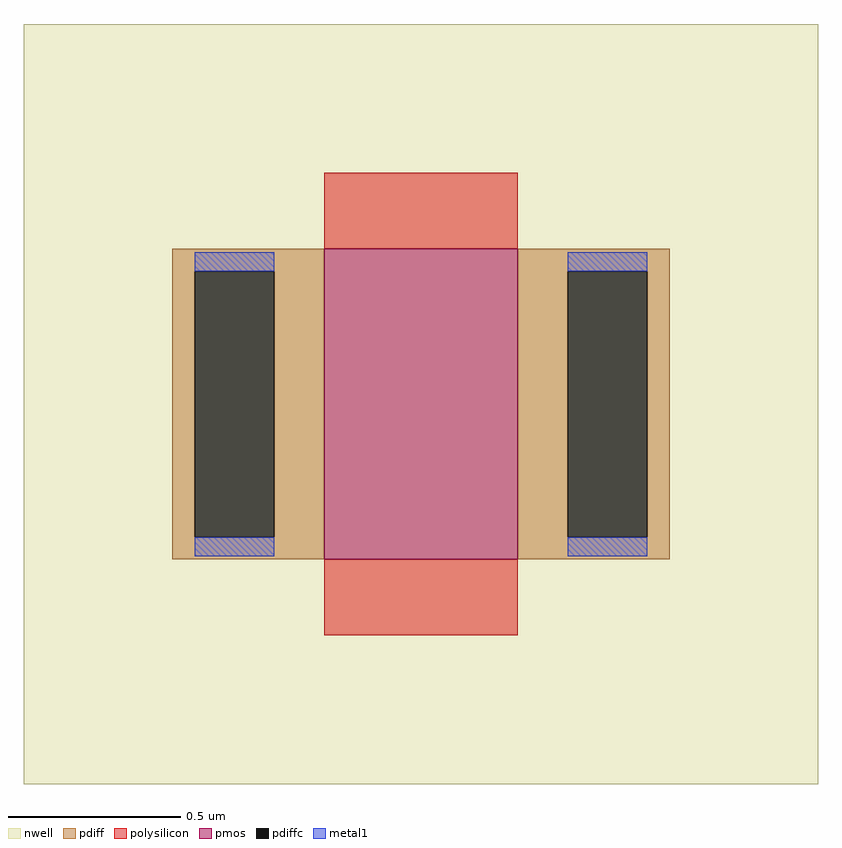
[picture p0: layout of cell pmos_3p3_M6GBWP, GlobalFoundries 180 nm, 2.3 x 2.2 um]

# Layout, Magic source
magic
tech gf180mcuC
magscale 1 10
<< nwell >>
rect -230 -220 230 220
<< pmos >>
rect -56 -90 56 90
<< pdiff >>
rect -144 77 -56 90
rect -144 -77 -131 77
rect -85 -77 -56 77
rect -144 -90 -56 -77
rect 56 77 144 90
rect 56 -77 85 77
rect 131 -77 144 77
rect 56 -90 144 -77
<< pdiffc >>
rect -131 -77 -85 77
rect 85 -77 131 77
<< polysilicon >>
rect -56 90 56 134
rect -56 -134 56 -90
<< metal1 >>
rect -131 77 -85 88
rect -131 -88 -85 -77
rect 85 77 131 88
rect 85 -88 131 -77
<< properties >>
string gencell pmos_3p3
string library gf180mcu
string parameters w 0.9 l 0.560 m 1 nf 1 diffcov 100 polycov 100 guard 0 glc 0 grc 0 gtc 0 gbc 0 tbcov 100 rlcov 100 topc 0 botc 0 poverlap 0 doverlap 1 lmin 0.28 wmin 0.22 full_metal 0 compatible {pmos_3p3 pmos_6p0}
<< end >>
